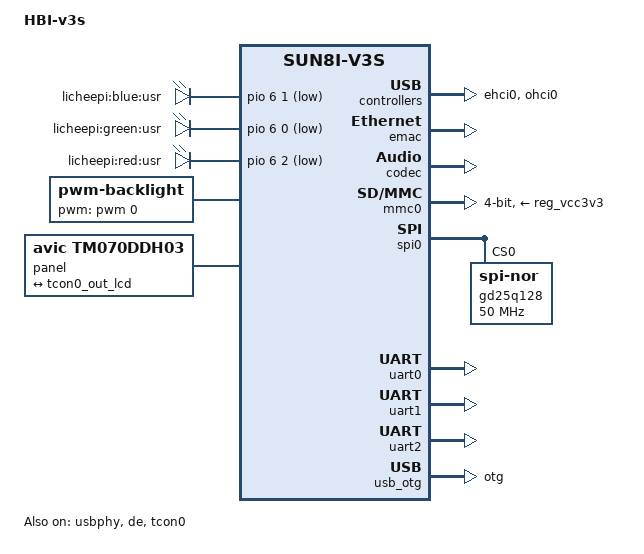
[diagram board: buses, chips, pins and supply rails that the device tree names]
/dts-v1/;
#include "sun8i-v3s.dtsi"
#include "sunxi-common-regulators.dtsi"

/ {
	model = "HBI-v3s";
	compatible = "licheepi,licheepi-zero", "allwinner,sun8i-v3s";

	aliases {
		serial0 = &uart0;
		serial1 = &uart1;
		serial2 = &uart2;
		ethernet0 = &emac;
	};

	chosen {
		stdout-path = "serial2:115200n8";
	};

	leds {
		compatible = "gpio-leds";

		blue_led {
			label = "licheepi:blue:usr";
			gpios = <&pio 6 1 GPIO_ACTIVE_LOW>; /* PG1 */
		};

		green_led {
			label = "licheepi:green:usr";
			gpios = <&pio 6 0 GPIO_ACTIVE_LOW>; /* PG0 */
			default-state = "on";
		};

		red_led {
			label = "licheepi:red:usr";
			gpios = <&pio 6 2 GPIO_ACTIVE_LOW>; /* PG2 */
		};
	};

	backlight: backlight {
		compatible = "pwm-backlight";
		pwms = <&pwm 0 1000000 0>;
		brightness-levels = <0 30 40 50 60 70 100>;
		default-brightness-level = <6>;
	};

	panel: panel {
		#address-cells = <1>;
		#size-cells = <0>;

		port@0 {
			reg = <0>;
			backlight = <&backlight>;
			#address-cells = <1>;
			#size-cells = <0>;

			panel_input: endpoint@0 {
				reg = <0>;
				remote-endpoint = <&tcon0_out_lcd>;
			};
		};
	};
};

&ehci0 {
	status = "okay";
};

&emac {
	status = "okay";
};

&codec {
	allwinner,audio-routing =
		"Headphone", "HP",
		"Headphone", "HPCOM",
		"MIC1", "Mic",
		"Mic",  "HBIAS";
	status = "okay";
};

&mmc0 {
	pinctrl-0 = <&mmc0_pins_a>;
	pinctrl-names = "default";
	broken-cd;
	bus-width = <4>;
	vmmc-supply = <&reg_vcc3v3>;
	status = "okay";
};

&spi0 {
        status ="okay";

        gd25q128:gd25q128@0 {
                compatible = "jedec,spi-nor";
                reg = <0x0>;
                spi-max-frequency = <50000000>;
                #address-cells = <1>;
                #size-cells = <1>;
        };
};

&i2c0 {
	status = "disabled";
};

&ohci0 {
	status = "okay";
};

&uart0 {
	pinctrl-0 = <&uart0_pins_a>;
	pinctrl-names = "default";
	status = "okay";
};

&uart1 {
	pinctrl-0 = <&uart1_pins_a>;
	pinctrl-names = "default";
	status = "okay";
};

&uart2 {
	pinctrl-0 = <&uart2_pins_a>;
	pinctrl-names = "default";
	status = "okay";
};

&usb_otg {
	dr_mode = "otg";
	status = "okay";
};

&usbphy {
	usb0_id_det-gpio = <&pio 5 6 GPIO_ACTIVE_LOW>;
	status = "okay";
};

&de {
	status = "okay";
};

&tcon0 {
	pinctrl-names = "default";
	pinctrl-0 = <&lcd_rgb666_pins_a>;
	status = "okay";
};

&tcon0_out {
	tcon0_out_lcd: endpoint@0 {
		reg = <0>;
		remote-endpoint = <&panel_input>;
	};
};

&panel {
	compatible = "avic,tm070ddh03", "simple-panel";
};

